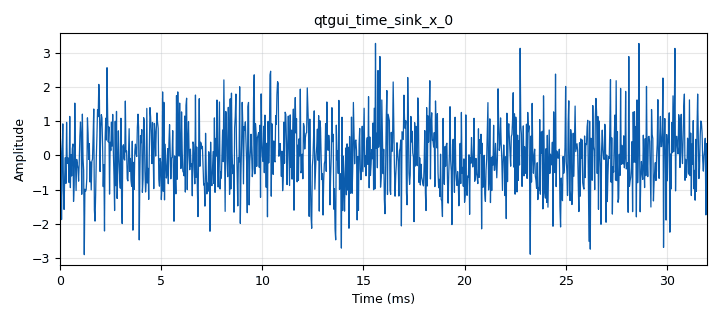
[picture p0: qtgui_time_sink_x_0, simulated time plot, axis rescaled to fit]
<?xml version='1.0' encoding='utf-8'?>
<?grc format='1' created='3.7.11'?>
<flow_graph>
<block>
<key>options</key>
<param><key>id</key><value>top_block</value></param>
<param><key>generate_options</key><value>qt_gui</value></param>
</block>
<block>
<key>variable</key>
<param><key>id</key><value>samp_rate</value></param>
<param><key>value</key><value>32000</value></param>
</block>
<block>
<key>analog_noise_source_x</key>
<param><key>id</key><value>analog_noise_source_x_0</value></param>
<param><key>amp</key><value>1</value></param>
<param><key>noise_type</key><value>analog.GR_GAUSSIAN</value></param>
<param><key>type</key><value>float</value></param>
<param><key>seed</key><value>0</value></param>
</block>
<block>
<key>blocks_null_sink</key>
<param><key>id</key><value>blocks_null_sink_0</value></param>
<param><key>bus_conns</key><value>[[0,],]</value></param>
<param><key>type</key><value>byte</value></param>
</block>
<block>
<key>blocks_pdu_to_tagged_stream</key>
<param><key>id</key><value>blocks_pdu_to_tagged_stream_0</value></param>
<param><key>type</key><value>byte</value></param>
<param><key>tag</key><value>packet_len</value></param>
</block>
<block>
<key>blocks_stream_to_tagged_stream</key>
<param><key>id</key><value>blocks_stream_to_tagged_stream_0</value></param>
<param><key>len_tag_key</key><value>"packet_len"</value></param>
<param><key>packet_len</key><value>3576</value></param>
<param><key>type</key><value>float</value></param>
</block>
<block>
<key>blocks_tagged_stream_to_pdu</key>
<param><key>id</key><value>blocks_tagged_stream_to_pdu_0</value></param>
<param><key>type</key><value>float</value></param>
<param><key>tag</key><value>packet_len</value></param>
</block>
<block>
<key>blocks_throttle</key>
<param><key>id</key><value>blocks_throttle_0</value></param>
<param><key>samples_per_second</key><value>samp_rate</value></param>
<param><key>type</key><value>float</value></param>
</block>
<block>
<key>dslwp_ccsds_turbo_decode</key>
<param><key>id</key><value>dslwp_ccsds_turbo_decode_0</value></param>
<param><key>base</key><value>223</value></param>
<param><key>code_type</key><value>2</value></param>
<param><key>iterations</key><value>2</value></param>
<param><key>octets</key><value>1</value></param>
<param><key>sigma</key><value>0.707</value></param>
<param><key>update_sigma</key><value>1</value></param>
</block>
<block>
<key>qtgui_time_sink_x</key>
<param><key>id</key><value>qtgui_time_sink_x_0</value></param>
<param><key>color1</key><value>"blue"</value></param>
<param><key>label1</key><value></value></param>
<param><key>srate</key><value>samp_rate</value></param>
<param><key>type</key><value>msg_float</value></param>
</block>
<connection><source_block_id>analog_noise_source_x_0</source_block_id><sink_block_id>blocks_throttle_0</sink_block_id><source_key>0</source_key><sink_key>0</sink_key></connection>
<connection><source_block_id>blocks_pdu_to_tagged_stream_0</source_block_id><sink_block_id>blocks_null_sink_0</sink_block_id><source_key>0</source_key><sink_key>0</sink_key></connection>
<connection><source_block_id>blocks_stream_to_tagged_stream_0</source_block_id><sink_block_id>blocks_tagged_stream_to_pdu_0</sink_block_id><source_key>0</source_key><sink_key>0</sink_key></connection>
<connection><source_block_id>blocks_tagged_stream_to_pdu_0</source_block_id><sink_block_id>dslwp_ccsds_turbo_decode_0</sink_block_id><source_key>pdus</source_key><sink_key>in</sink_key></connection>
<connection><source_block_id>blocks_tagged_stream_to_pdu_0</source_block_id><sink_block_id>qtgui_time_sink_x_0</sink_block_id><source_key>pdus</source_key><sink_key>in</sink_key></connection>
<connection><source_block_id>blocks_throttle_0</source_block_id><sink_block_id>blocks_stream_to_tagged_stream_0</sink_block_id><source_key>0</source_key><sink_key>0</sink_key></connection>
<connection><source_block_id>dslwp_ccsds_turbo_decode_0</source_block_id><sink_block_id>blocks_pdu_to_tagged_stream_0</sink_block_id><source_key>out</source_key><sink_key>pdus</sink_key></connection>
</flow_graph>
